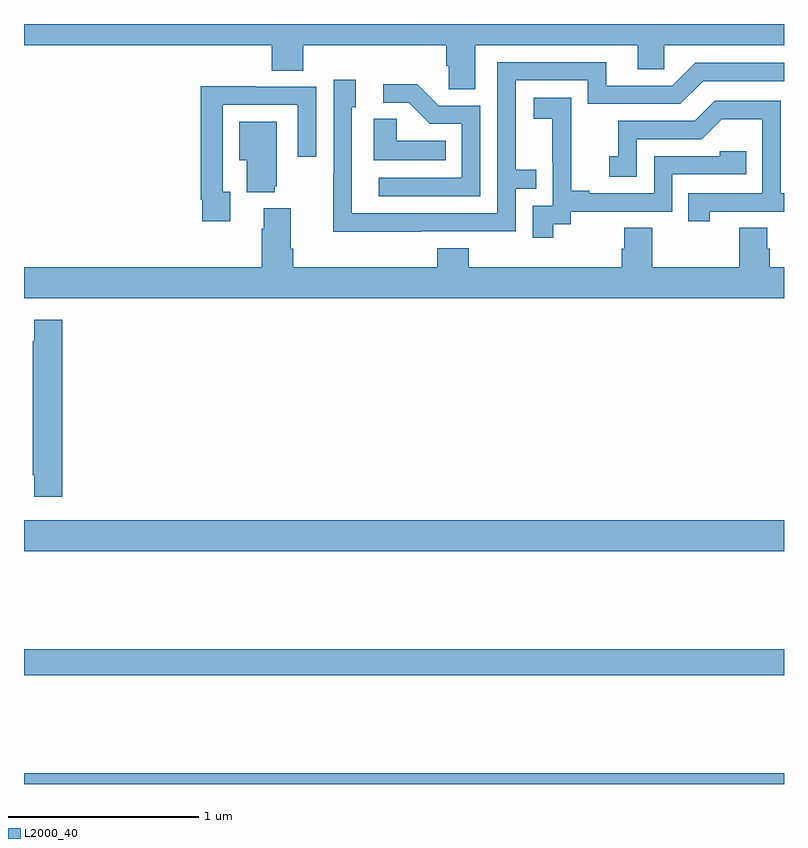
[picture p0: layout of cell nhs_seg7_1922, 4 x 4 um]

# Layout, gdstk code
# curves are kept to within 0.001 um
import gdstk
lib = gdstk.Library(unit=1e-6, precision=1e-09)
def R(c, l, rs):  # rectangles x0, y0, x1, y1
    for r in rs: c.add(gdstk.rectangle(r[:2], r[2:], *l))
def P(c, l, *ps):  # polygons
    for p in ps: c.add(gdstk.Polygon(p, *l))
L2000_40 = (2000, 40)

nhs_seg7_1922 = lib.new_cell('nhs_seg7_1922')
R(nhs_seg7_1922, L2000_40, [(239,1058,243,1058.056), (239,1058.572,243,1058.708), (239,1059.224,243,1059.388)])
P(nhs_seg7_1922, L2000_40, [(241.375,1061.888),(242.231,1061.888),(242.231,1061.761),(242.37,1061.761),(242.37,1061.888),(243,1061.888),(243,1062),(239,1062),(239,1061.888),(240.305,1061.888),(240.305,1061.755),(240.47,1061.755),(240.47,1061.888),(241.223,1061.888),(241.223,1061.779),(241.236,1061.779),(241.236,1061.656),(241.375,1061.656)],
  [(241.091,1060.908),(241.587,1060.908),(241.587,1061.133),(241.697,1061.133),(241.697,1061.234),(241.587,1061.234),(241.587,1061.703),(241.968,1061.703),(241.968,1061.58),(242.454,1061.58),(242.574,1061.7),(243,1061.7),(243,1061.796),(242.532,1061.796),(242.412,1061.676),(242.065,1061.676),(242.065,1061.799),(241.491,1061.799),(241.491,1061.004),(240.726,1061.004),(240.726,1061.562),(240.745,1061.562),(240.745,1061.707),(240.63,1061.707),(240.63,1061.213),(240.628,1061.213),(240.628,1060.907)],
  [(241.401,1061.571),(241.182,1061.571),(241.069,1061.684),(240.891,1061.684),(240.891,1061.586),(241.025,1061.586),(241.136,1061.475),(241.305,1061.475),(241.305,1061.19),(240.867,1061.19),(240.867,1061.094),(241.401,1061.094)],
  [(240.085,1061.118),(240.045,1061.118),(240.045,1061.574),(240.441,1061.574),(240.441,1061.301),(240.537,1061.301),(240.537,1061.67),(240.221,1061.67),(240.221,1061.672),(239.929,1061.672),(239.929,1061.074),(239.937,1061.074),(239.937,1060.962),(240.085,1060.962)],
  [(241.786,1060.945),(241.878,1060.945),(241.878,1061.013),(242.412,1061.013),(242.412,1061.208),(242.801,1061.208),(242.801,1061.331),(242.661,1061.331),(242.661,1061.304),(242.316,1061.304),(242.316,1061.109),(241.975,1061.109),(241.975,1061.122),(241.88,1061.122),(241.88,1061.405),(241.881,1061.405),(241.881,1061.611),(241.683,1061.611),(241.683,1061.501),(241.781,1061.501),(241.781,1061.273),(241.782,1061.273),(241.782,1061.043),(241.677,1061.043),(241.677,1060.875),(241.786,1060.875)],
  [(242.608,1061.013),(243,1061.013),(243,1061.109),(242.982,1061.109),(242.982,1061.595),(242.636,1061.595),(242.531,1061.49),(242.128,1061.49),(242.128,1061.305),(242.079,1061.305),(242.079,1061.196),(242.226,1061.196),(242.226,1061.394),(242.568,1061.394),(242.672,1061.498),(242.886,1061.498),(242.886,1061.109),(242.497,1061.109),(242.497,1060.962),(242.608,1060.962)],
  [(241.22,1061.386),(240.963,1061.386),(240.963,1061.501),(240.842,1061.501),(240.842,1061.282),(241.22,1061.282)],
  [(240.32,1061.145),(240.331,1061.145),(240.331,1061.485),(240.134,1061.485),(240.134,1061.282),(240.173,1061.282),(240.173,1061.114),(240.32,1061.114)],
  [(243,1060.72),(242.924,1060.72),(242.924,1060.818),(242.911,1060.818),(242.911,1060.928),(242.764,1060.928),(242.764,1060.72),(242.307,1060.72),(242.307,1060.928),(242.159,1060.928),(242.159,1060.818),(242.147,1060.818),(242.147,1060.72),(241.34,1060.72),(241.34,1060.819),(241.175,1060.819),(241.175,1060.72),(240.416,1060.72),(240.416,1060.816),(240.403,1060.816),(240.403,1061.029),(240.263,1061.029),(240.263,1060.922),(240.251,1060.922),(240.251,1060.72),(239,1060.72),(239,1060.556),(243,1060.556)],
  [(239.201,1060.444),(239.054,1060.444),(239.054,1060.331),(239.047,1060.331),(239.047,1059.625),(239.054,1059.625),(239.054,1059.513),(239.201,1059.513)])

lib.write_gds('nhs_seg7_1922.gds')
